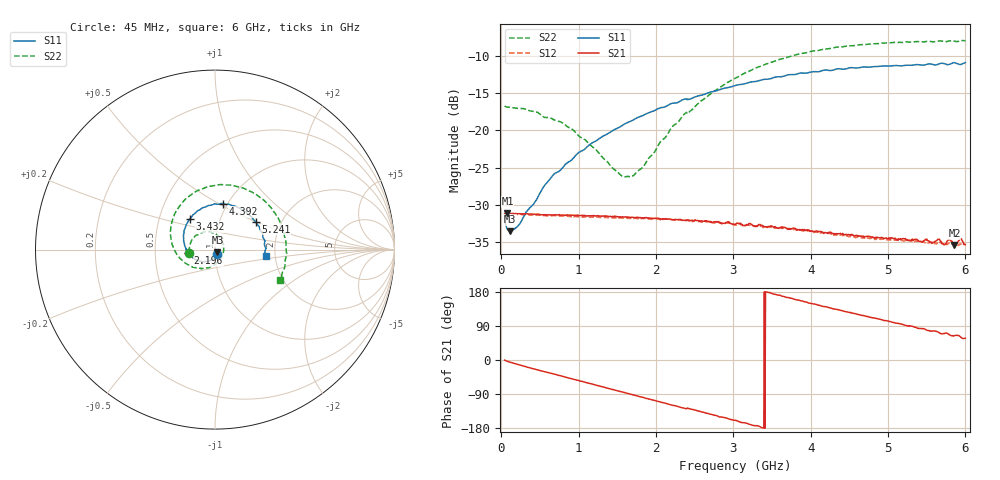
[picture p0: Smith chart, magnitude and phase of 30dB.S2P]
! C:\Users\Aljaz\OneDrive - Univerza v Ljubljani\DOKTORAT\NOVI SA\Slabilec PE43711B\meritve\prototip2\30dB.S2P
! Touchstone 1.1 file saved by VNA.EXE V1.65 (www.ke5fx.com/gpib/readme.htm)
! 18. 04. 2022 18:10:23
!  Source: HP8510C.07.14: Aug 26  1998
!  Min freq: 4.500000E+007 Hz
!  Max freq: 6.000000E+009 Hz
!  Points: 801
!  Params: S11 S21 S12 S22
# GHZ S DB R 50
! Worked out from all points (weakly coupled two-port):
!   801 points, 45 MHz to 6 GHz, reference 50 ohm
!   highest |S21| = -31.16 dB at 82.22 MHz (marker M1); lowest = -35.5 dB at 5.859 GHz (marker M2)
!   lowest |S11| = -33.5 dB at 119.4 MHz (marker M3), VSWR 1.04, Z = 51.4 - j1.65 ohm
!   |S11| at or under -10 dB: start of sweep to end of sweep
!   |S22| runs from -26.2 to -7.9 dB; largest |S21 - S12| = 0.0016
!   S11 on the Smith chart (normalised r, x): 45 MHz: 1.03, -0.05; 2.196 GHz: 0.74, -0.03; 3.432 GHz: 0.72, +0.26; 4.392 GHz: 0.95, +0.52; 5.241 GHz: 1.48, +0.50; 6 GHz: 1.79, -0.13
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0.045  -31.67 -58.9  -31.19 -0.3  -31.30 -0.6  -16.73 -173.6
0.08221875  -33.33 -50.8  -31.16 -3.7  -31.29 -3.7  -16.85 179.0
0.1194375  -33.55 -49.7  -31.17 -6.2  -31.30 -6.2  -16.90 174.3
0.22365  -32.79 -59.3  -31.21 -12.0  -31.30 -12.0  -17.04 163.8
0.6628312  -26.11 -97.8  -31.36 -35.9  -31.44 -36.0  -18.45 128.6
1.042463  -22.75 -118.0  -31.42 -56.3  -31.63 -56.5  -20.99 91.5
1.5933  -19.14 -145.4  -31.65 -85.6  -31.76 -85.6  -26.22 3.1
1.816612  -18.05 -155.5  -31.77 -98.1  -31.86 -96.8  -25.08 -48.0
2.032481  -17.05 -165.3  -31.85 -109.4  -31.91 -109.0  -21.97 -86.9
2.196244  -16.41 -172.8  -32.01 -118.4  -31.96 -117.3  -19.70 -107.4
2.598206  -15.26 169.7  -32.16 -137.2  -32.33 -137.3  -15.95 -143.1
3.0225  -13.96 149.3  -32.63 -159.1  -32.69 -159.5  -12.99 -178.4
3.431906  -13.11 129.3  -32.97 179.2  -32.99 178.4  -11.04 150.4
4.019963  -12.12 99.2  -33.52 148.7  -33.61 147.9  -9.34 107.8
4.39215  -11.72 80.3  -33.92 130.9  -34.04 130.4  -8.77 82.0
4.667569  -11.48 65.4  -34.26 117.6  -34.47 117.4  -8.46 63.1
5.009981  -11.34 47.3  -34.47 102.0  -34.69 102.2  -8.22 39.9
5.240737  -11.22 34.7  -34.77 90.8  -34.86 91.8  -8.10 24.7
5.5236  -11.04 18.9  -34.84 77.8  -35.05 79.1  -8.01 6.0
5.858569  -10.89 1.4  -35.47 63.9  -35.41 64.1  -7.98 -15.7
5.933006  -11.13 -3.0  -34.61 61.9  -35.32 63.2  -7.96 -21.7
6  -10.87 -6.9  -35.36 57.4  -35.44 59.2  -7.95 -24.9
